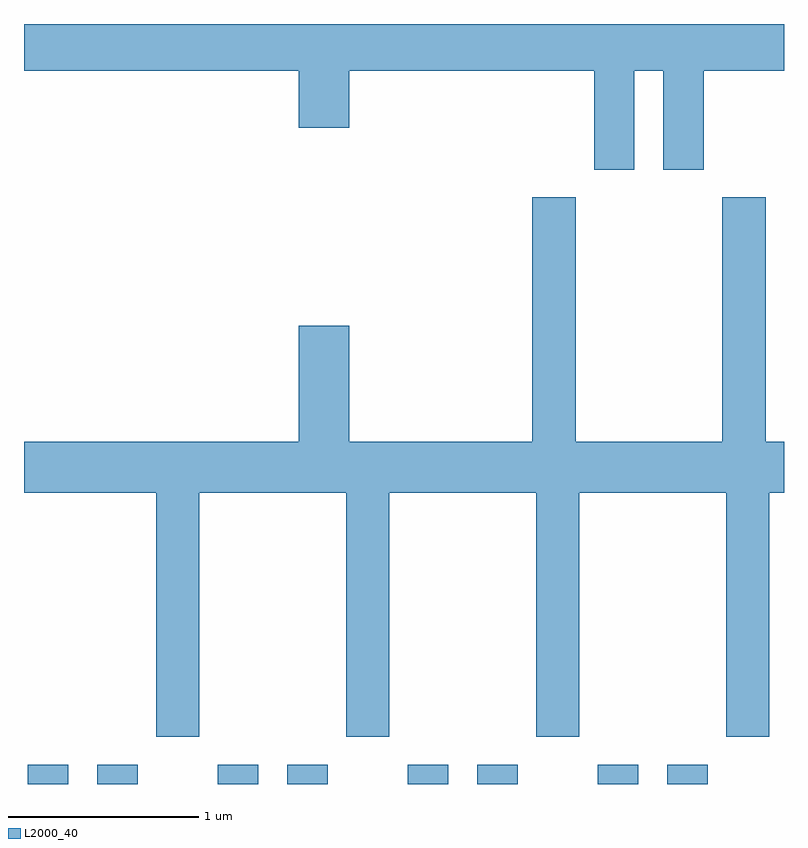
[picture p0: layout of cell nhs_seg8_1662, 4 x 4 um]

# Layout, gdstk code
import gdstk
lib = gdstk.Library(unit=1e-6, precision=1e-09)
def R(c, l, rs):  # rectangles x0, y0, x1, y1
    for r in rs: c.add(gdstk.rectangle(r[:2], r[2:], *l))
def P(c, l, *ps):  # polygons
    for p in ps: c.add(gdstk.Polygon(p, *l))
L2000_40 = (2000, 40)

nhs_seg8_1662 = lib.new_cell('nhs_seg8_1662')
R(nhs_seg8_1662, L2000_40, [(233.631,1930.342,233.844,1930.444), (233.996,1930.342,234.209,1930.444), (234.631,1930.342,234.844,1930.444), (234.996,1930.342,235.209,1930.444), (235.631,1930.342,235.844,1930.444), (235.996,1930.342,236.209,1930.444), (236.631,1930.342,236.844,1930.444), (236.996,1930.342,237.209,1930.444)])
P(nhs_seg8_1662, L2000_40, [(236.824,1934.096),(236.976,1934.096),(236.976,1933.576),(237.189,1933.576),(237.189,1934.096),(237.611,1934.096),(237.611,1934.342),(233.611,1934.342),(233.611,1934.096),(235.056,1934.096),(235.056,1933.796),(235.324,1933.796),(235.324,1934.096),(236.611,1934.096),(236.611,1933.576),(236.824,1933.576)],
  [(234.534,1931.876),(235.306,1931.876),(235.306,1930.591),(235.534,1930.591),(235.534,1931.876),(236.306,1931.876),(236.306,1930.591),(236.534,1930.591),(236.534,1931.876),(237.306,1931.876),(237.306,1930.591),(237.534,1930.591),(237.534,1931.876),(237.611,1931.876),(237.611,1932.144),(237.514,1932.144),(237.514,1933.429),(237.286,1933.429),(237.286,1932.144),(236.514,1932.144),(236.514,1933.429),(236.286,1933.429),(236.286,1932.144),(235.324,1932.144),(235.324,1932.754),(235.056,1932.754),(235.056,1932.144),(233.611,1932.144),(233.611,1931.876),(234.306,1931.876),(234.306,1930.591),(234.534,1930.591)])

lib.write_gds('nhs_seg8_1662.gds')
